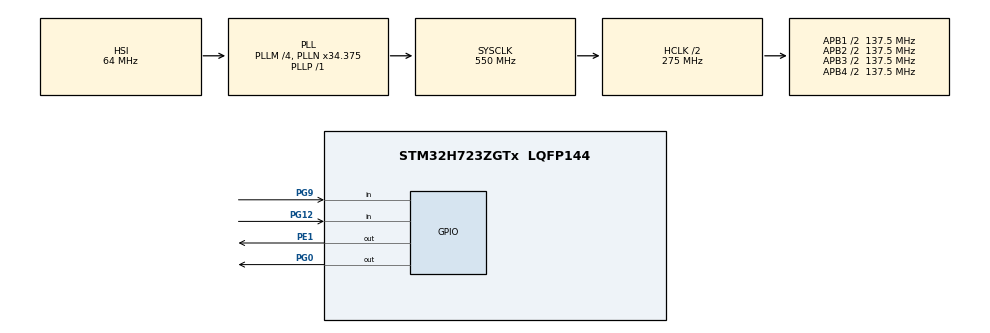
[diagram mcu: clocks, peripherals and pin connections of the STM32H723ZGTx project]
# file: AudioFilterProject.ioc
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FREERTOS.CountingSemaphores01=countSem1,275000000,Dynamic,NULL
FREERTOS.Tasks01=defaultTask,24,128,StartDefaultTask,Default,NULL,Dynamic,NULL,NULL;toggleLED,8,128,ledStateCtrl_task,Default,NULL,Dynamic,NULL,NULL
FREERTOS.Timers01=ledTimer,ledSwitch,osTimerPeriodic,Default,NULL,Dynamic,NULL
Mcu.Family=STM32H7
Mcu.Name=STM32H723ZGTx
Mcu.Package=LQFP144
Mcu.UserConstants=timerVal,275000000
NVIC.PriorityGroup=NVIC_PRIORITYGROUP_4
PE1.Signal=GPIO_Output
PG0.Signal=GPIO_Output
PG12.Signal=GPIO_Input
PG9.Signal=GPIO_Input
ProjectManager.HeapSize=0x200
ProjectManager.StackSize=0x400
ProjectManager.TargetToolchain=STM32CubeIDE
RCC.ADCFreq_Value=129000000
RCC.APB1Freq_Value=137500000
RCC.APB2Freq_Value=137500000
RCC.APB3Freq_Value=137500000
RCC.APB4Freq_Value=137500000
RCC.CortexFreq_Value=550000000
RCC.D1PPRE=RCC_APB3_DIV2
RCC.D2PPRE1=RCC_APB1_DIV2
RCC.D2PPRE2=RCC_APB2_DIV2
RCC.D3PPRE=RCC_APB4_DIV2
RCC.DIVM1=4
RCC.DIVN1=34
RCC.DIVP1=1
RCC.HCLKFreq_Value=275000000
RCC.HPRE=RCC_HCLK_DIV2
RCC.PLL2FRACN=0
RCC.PLL3FRACN=0
RCC.PLLFRACN=3072
RCC.SYSCLKFreq_VALUE=550000000
RCC.SYSCLKSource=RCC_SYSCLKSOURCE_PLLCLK
RCC.USBFreq_Value=275000000
VP_FREERTOS_VS_CMSIS_V2.Mode=CMSIS_V2
board=custom

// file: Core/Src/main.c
/* USER CODE BEGIN Header */
/**
  ******************************************************************************
  * @file           : main.c
  * @brief          : Main program body
  ******************************************************************************
  * @attention
  *
  * Copyright (c) 2023 STMicroelectronics.
  * All rights reserved.
  *
  * This software is licensed under terms that can be found in the LICENSE file
  * in the root directory of this software component.
  * If no LICENSE file comes with this software, it is provided AS-IS.
  *
  ******************************************************************************
  */
/* USER CODE END Header */
#include "main.h"
#include "cmsis_os.h"

/* USER CODE BEGIN PD */
#define LED_PIN_1 GPIO_PIN_1
#define LED_BANK_1 GPIOE

#define BIT0 0x1
#define BIT1 0x2
#define BIT2 0x4
#define BIT3 0x8
#define BIT4 0x10
#define BIT5 0x20
#define BIT6 0x40
#define BIT7 0x80

/* USER CODE END PD */

uint16_t ledState;

/* Definitions for defaultTask */
osThreadId_t defaultTaskHandle;
const osThreadAttr_t defaultTask_attributes = {
  .name = "defaultTask",
  .stack_size = 128 * 4,
  .priority = (osPriority_t) osPriorityNormal,
};
/* Definitions for toggleLED */
osThreadId_t toggleLEDHandle;
const osThreadAttr_t toggleLED_attributes = {
  .name = "toggleLED",
  .stack_size = 128 * 4,
  .priority = (osPriority_t) osPriorityLow,
};
/* Definitions for ledTimer */
osTimerId_t ledTimerHandle;
const osTimerAttr_t ledTimer_attributes = {
  .name = "ledTimer"
};
/* Definitions for countSem1 */
osSemaphoreId_t countSem1Handle;
const osSemaphoreAttr_t countSem1_attributes = {
  .name = "countSem1"
};
/* USER CODE BEGIN PV */
uint16_t ledState;

/* USER CODE END PV */

void SystemClock_Config(void);
static void MX_GPIO_Init(void);
void StartDefaultTask(void *argument);
void ledStateCtrl_task(void *argument);
void ledSwitch(void *argument);

/* USER CODE END PFP */

int main(void)
{

  /* MCU Configuration--------------------------------------------------------*/

  /* Reset of all peripherals, Initializes the Flash interface and the Systick. */
  HAL_Init();

  /* Configure the system clock */
  SystemClock_Config();

  /* Initialize all configured peripherals */
  MX_GPIO_Init();

  /* Init scheduler */
  osKernelInitialize();

  /* Create the semaphores(s) */
  /* creation of countSem1 */
  countSem1Handle = osSemaphoreNew(275000000, 275000000, &countSem1_attributes);

  /* Create the timer(s) */
  /* creation of ledTimer */
  ledTimerHandle = osTimerNew(ledSwitch, osTimerPeriodic, NULL, &ledTimer_attributes);

  /* Create the thread(s) */
  /* creation of defaultTask */
  defaultTaskHandle = osThreadNew(StartDefaultTask, NULL, &defaultTask_attributes);

  /* creation of toggleLED */
  toggleLEDHandle = osThreadNew(ledStateCtrl_task, NULL, &toggleLED_attributes);

  /* Start scheduler */
  osKernelStart();

  /* We should never get here as control is now taken by the scheduler */
  /* Infinite loop */
  while (1)
  {

  }
}

void SystemClock_Config(void)
{
  RCC_OscInitTypeDef RCC_OscInitStruct = {0};
  RCC_ClkInitTypeDef RCC_ClkInitStruct = {0};

  /** Supply configuration update enable
  */
  HAL_PWREx_ConfigSupply(PWR_LDO_SUPPLY);

  /** Configure the main internal regulator output voltage
  */
  __HAL_PWR_VOLTAGESCALING_CONFIG(PWR_REGULATOR_VOLTAGE_SCALE0);

  while(!__HAL_PWR_GET_FLAG(PWR_FLAG_VOSRDY)) {}

  /** Initializes the RCC Oscillators according to the specified parameters
  * in the RCC_OscInitTypeDef structure.
  */
  RCC_OscInitStruct.OscillatorType = RCC_OSCILLATORTYPE_HSI;
  RCC_OscInitStruct.HSIState = RCC_HSI_DIV1;
  RCC_OscInitStruct.HSICalibrationValue = 64;
  RCC_OscInitStruct.PLL.PLLState = RCC_PLL_ON;
  RCC_OscInitStruct.PLL.PLLSource = RCC_PLLSOURCE_HSI;
  RCC_OscInitStruct.PLL.PLLM = 4;
  RCC_OscInitStruct.PLL.PLLN = 34;
  RCC_OscInitStruct.PLL.PLLP = 1;
  RCC_OscInitStruct.PLL.PLLQ = 2;
  RCC_OscInitStruct.PLL.PLLR = 2;
  RCC_OscInitStruct.PLL.PLLRGE = RCC_PLL1VCIRANGE_3;
  RCC_OscInitStruct.PLL.PLLVCOSEL = RCC_PLL1VCOWIDE;
  RCC_OscInitStruct.PLL.PLLFRACN = 3072;
  if (HAL_RCC_OscConfig(&RCC_OscInitStruct) != HAL_OK)
  {
    Error_Handler();
  }

  /** Initializes the CPU, AHB and APB buses clocks
  */
  RCC_ClkInitStruct.ClockType = RCC_CLOCKTYPE_HCLK|RCC_CLOCKTYPE_SYSCLK
                              |RCC_CLOCKTYPE_PCLK1|RCC_CLOCKTYPE_PCLK2
                              |RCC_CLOCKTYPE_D3PCLK1|RCC_CLOCKTYPE_D1PCLK1;
  RCC_ClkInitStruct.SYSCLKSource = RCC_SYSCLKSOURCE_PLLCLK;
  RCC_ClkInitStruct.SYSCLKDivider = RCC_SYSCLK_DIV1;
  RCC_ClkInitStruct.AHBCLKDivider = RCC_HCLK_DIV2;
  RCC_ClkInitStruct.APB3CLKDivider = RCC_APB3_DIV2;
  RCC_ClkInitStruct.APB1CLKDivider = RCC_APB1_DIV2;
  RCC_ClkInitStruct.APB2CLKDivider = RCC_APB2_DIV2;
  RCC_ClkInitStruct.APB4CLKDivider = RCC_APB4_DIV2;

  if (HAL_RCC_ClockConfig(&RCC_ClkInitStruct, FLASH_LATENCY_3) != HAL_OK)
  {
    Error_Handler();
  }
}

static void MX_GPIO_Init(void)
{
  GPIO_InitTypeDef GPIO_InitStruct = {0};

  /* GPIO Ports Clock Enable */
  __HAL_RCC_GPIOG_CLK_ENABLE();
  __HAL_RCC_GPIOE_CLK_ENABLE();

	ledState = 0x0;

  /*Configure GPIO pin Output Level */
  HAL_GPIO_WritePin(GPIOG, GPIO_PIN_0, GPIO_PIN_RESET);

  /*Configure GPIO pin Output Level */
  HAL_GPIO_WritePin(GPIOE, GPIO_PIN_1, GPIO_PIN_SET);

  /*Configure GPIO pin : PG0 */
  GPIO_InitStruct.Pin = GPIO_PIN_0;
  GPIO_InitStruct.Mode = GPIO_MODE_OUTPUT_PP;
  GPIO_InitStruct.Pull = GPIO_NOPULL;
  GPIO_InitStruct.Speed = GPIO_SPEED_FREQ_LOW;
  HAL_GPIO_Init(GPIOG, &GPIO_InitStruct);

  /*Configure GPIO pins : PG9 PG12 */
  GPIO_InitStruct.Pin = GPIO_PIN_9|GPIO_PIN_12;
  GPIO_InitStruct.Mode = GPIO_MODE_INPUT;
  GPIO_InitStruct.Pull = GPIO_NOPULL;
  HAL_GPIO_Init(GPIOG, &GPIO_InitStruct);

  /*Configure GPIO pin : PE1 */
  GPIO_InitStruct.Pin = GPIO_PIN_1;
  GPIO_InitStruct.Mode = GPIO_MODE_OUTPUT_PP;
  GPIO_InitStruct.Pull = GPIO_NOPULL;
  GPIO_InitStruct.Speed = GPIO_SPEED_FREQ_LOW;
  HAL_GPIO_Init(GPIOE, &GPIO_InitStruct);

}

/* USER CODE END 4 */

void StartDefaultTask(void *argument)
{
  for(;;)
  {
    osDelay(1);
  }
}

void ledStateCtrl_task(void *argument)
{
  /* USER CODE BEGIN ledStateCtrl_task */
  /* Infinite loop */
  for(;;)
  {
    osDelay(500);

	// Toggle LED state
	ledState ^= BIT1;

	// Set LED state for pin PE_1 to ledState
	if (ledState | BIT1)
	{
		HAL_GPIO_WritePin(LED_BANK_1, LED_PIN_1, GPIO_PIN_SET);
	}
	else
	{
		HAL_GPIO_WritePin(LED_BANK_1, LED_PIN_1, GPIO_PIN_RESET);
	}

  }
  /* USER CODE END ledStateCtrl_task */
}

/* ledSwitch function */
void ledSwitch(void *argument)
{

}

void Error_Handler(void)
{
  __disable_irq();
  while (1)
  {
  }
}
